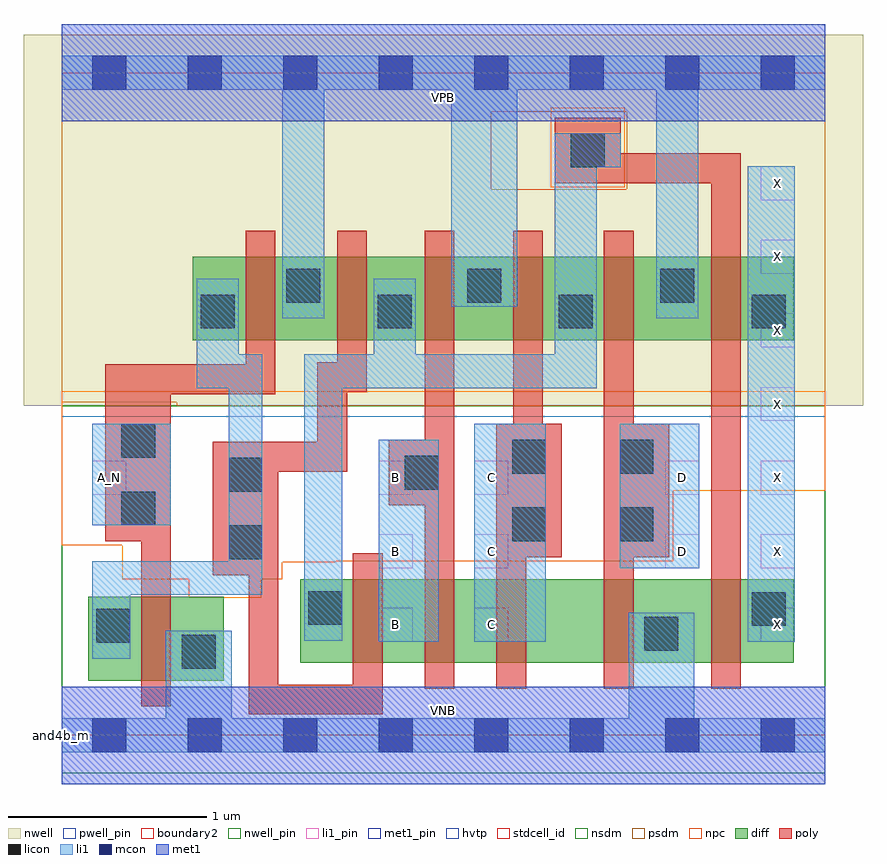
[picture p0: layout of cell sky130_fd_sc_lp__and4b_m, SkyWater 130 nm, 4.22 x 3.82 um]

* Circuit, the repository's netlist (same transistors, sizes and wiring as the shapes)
* Copyright 2020 The SkyWater PDK Authors
*
* Licensed under the Apache License, Version 2.0 (the "License");
* you may not use this file except in compliance with the License.
* You may obtain a copy of the License at
*
*     https://www.apache.org/licenses/LICENSE-2.0
*
* Unless required by applicable law or agreed to in writing, software
* distributed under the License is distributed on an "AS IS" BASIS,
* WITHOUT WARRANTIES OR CONDITIONS OF ANY KIND, either express or implied.
* See the License for the specific language governing permissions and
* limitations under the License.
*
* SPDX-License-Identifier: Apache-2.0

.SUBCKT sky130_fd_sc_lp__and4b_m A_N B C D VGND VNB VPB VPWR X
*.PININFO A_N:I B:I C:I D:I VGND:I VNB:I VPB:I VPWR:I X:O
MMP0 y A VPWR VPB sky130_fd_pr__pfet_01v8_hvt m=1 w=0.42U l=0.15U mult=1 sa=0.265
+ sb=0.265 sd=0.28 area=0.063 perim=1.14
MMP1 y B VPWR VPB sky130_fd_pr__pfet_01v8_hvt m=1 w=0.42U l=0.15U mult=1 sa=0.265
+ sb=0.265 sd=0.28 area=0.063 perim=1.14
MMP2 y C VPWR VPB sky130_fd_pr__pfet_01v8_hvt m=1 w=0.42U l=0.15U mult=1 sa=0.265
+ sb=0.265 sd=0.28 area=0.063 perim=1.14
MMP3 y D VPWR VPB sky130_fd_pr__pfet_01v8_hvt m=1 w=0.42U l=0.15U mult=1 sa=0.265
+ sb=0.265 sd=0.28 area=0.063 perim=1.14
MMIP0 A A_N VPWR VPB sky130_fd_pr__pfet_01v8_hvt m=1 w=0.42U l=0.15U mult=1 sa=0.265
+ sb=0.265 sd=0.28 area=0.063 perim=1.14
MMIP1 X y VPWR VPB sky130_fd_pr__pfet_01v8_hvt m=1 w=0.42U l=0.15U mult=1 sa=0.265
+ sb=0.265 sd=0.28 area=0.063 perim=1.14
MMN0 y A sndA VNB sky130_fd_pr__nfet_01v8 m=1 w=0.42U l=0.15U mult=1 sa=0.265 sb=0.265
+ sd=0.28 area=0.063 perim=1.14
MMN1 sndA B sndB VNB sky130_fd_pr__nfet_01v8 m=1 w=0.42U l=0.15U mult=1 sa=0.265
+ sb=0.265 sd=0.28 area=0.063 perim=1.14
MMN2 sndB C sndC VNB sky130_fd_pr__nfet_01v8 m=1 w=0.42U l=0.15U mult=1 sa=0.265
+ sb=0.265 sd=0.28 area=0.063 perim=1.14
MMN3 sndC D VGND VNB sky130_fd_pr__nfet_01v8 m=1 w=0.42U l=0.15U mult=1 sa=0.265
+ sb=0.265 sd=0.28 area=0.063 perim=1.14
MMIN0 A A_N VGND VNB sky130_fd_pr__nfet_01v8 m=1 w=0.42U l=0.15U mult=1 sa=0.265
+ sb=0.265 sd=0.28 area=0.063 perim=1.14
MMIN1 X y VGND VNB sky130_fd_pr__nfet_01v8 m=1 w=0.42U l=0.15U mult=1 sa=0.265
+ sb=0.265 sd=0.28 area=0.063 perim=1.14
.ENDS sky130_fd_sc_lp__and4b_m

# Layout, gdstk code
import gdstk
lib = gdstk.Library(unit=1e-6, precision=1e-09)
def R(c, l, rs):  # rectangles x0, y0, x1, y1
    for r in rs: c.add(gdstk.rectangle(r[:2], r[2:], *l))
def A(c, l, x, y, w, h, nx, ny, dx, dy):  # array of equal rectangles
    R(c, l, [(x+i*dx, y+j*dy, x+i*dx+w, y+j*dy+h) for i in range(nx) for j in range(ny)])
def P(c, l, *ps):  # polygons
    for p in ps: c.add(gdstk.Polygon(p, *l))
nwell_pin = (64, 16)
nwell = (64, 20)
diff = (65, 20)
poly = (66, 20)
licon = (66, 44)
li1_pin = (67, 16)
li1 = (67, 20)
mcon = (67, 44)
met1_pin = (68, 16)
met1 = (68, 20)
hvtp = (78, 44)
stdcell_id = (81, 4)
nsdm = (93, 44)
psdm = (94, 20)
npc = (95, 20)
pwell_pin = (122, 16)
boundary2 = (236, 0)

sky130_fd_sc_lp__and4b_m = lib.new_cell('sky130_fd_sc_lp__and4b_m')
R(sky130_fd_sc_lp__and4b_m, nwell_pin, [(0,3.085,3.84,3.33)])
R(sky130_fd_sc_lp__and4b_m, nwell, [(-0.19,1.655,4.03,3.52)])
R(sky130_fd_sc_lp__and4b_m, diff, [(0.135,0.275,0.815,0.695), (1.2,0.365,3.68,0.785), (0.66,1.985,3.68,2.405)])
P(sky130_fd_sc_lp__and4b_m, poly, [(1.075,2.535),(0.925,2.535),(0.925,1.865),(0.22,1.865),(0.22,0.975),(0.4,0.975),(0.4,0.145),(0.55,0.145),(0.55,1.715),(1.075,1.715)],
  [(1.615,0.915),(1.465,0.915),(1.465,0.255),(1.09,0.255),(1.09,1.325),(1.435,1.325),(1.435,1.725),(1.535,1.725),(1.535,2.535),(1.385,2.535),(1.385,1.875),(1.285,1.875),(1.285,1.475),(0.76,1.475),(0.76,0.805),(0.94,0.805),(0.94,0.105),(1.615,0.105)],
  [(1.975,2.535),(1.825,2.535),(1.825,1.485),(1.645,1.485),(1.645,1.155),(1.825,1.155),(1.825,0.235),(1.975,0.235)],
  [(2.515,1.565),(2.42,1.565),(2.42,2.535),(2.27,2.535),(2.27,1.565),(2.185,1.565),(2.185,0.235),(2.335,0.235),(2.335,0.895),(2.515,0.895)],
  [(3.055,1.565),(2.875,1.565),(2.875,2.535),(2.725,2.535),(2.725,0.235),(2.875,0.235),(2.875,0.895),(3.055,0.895)],
  [(3.415,2.925),(2.81,2.925),(2.81,3.105),(2.48,3.105),(2.48,2.775),(3.265,2.775),(3.265,0.235),(3.415,0.235)])
R(sky130_fd_sc_lp__and4b_m, licon, [(0.605,0.335,0.775,0.505), (2.93,0.425,3.1,0.595), (0.175,0.465,0.345,0.635), (3.47,0.55,3.64,0.72), (1.24,0.555,1.41,0.725), (0.84,0.885,1.01,1.055), (2.265,0.975,2.435,1.145), (2.805,0.975,2.975,1.145), (0.3,1.055,0.47,1.225), (0.84,1.225,1.01,1.395), (1.725,1.235,1.895,1.405), (2.265,1.315,2.435,1.485), (2.805,1.315,2.975,1.485), (0.3,1.395,0.47,1.565), (0.7,2.045,0.87,2.215), (1.59,2.045,1.76,2.215), (2.5,2.045,2.67,2.215), (3.47,2.045,3.64,2.215), (1.13,2.175,1.3,2.345), (2.04,2.175,2.21,2.345), (3.01,2.175,3.18,2.345), (2.56,2.855,2.73,3.025)])
A(sky130_fd_sc_lp__and4b_m, li1_pin, 1.595, 0.47, 0.17, 0.17, 1, 3, 0, 0.37)
A(sky130_fd_sc_lp__and4b_m, li1_pin, 2.075, 0.47, 0.17, 0.17, 1, 3, 0, 0.37)
A(sky130_fd_sc_lp__and4b_m, li1_pin, 3.515, 0.47, 0.17, 0.17, 1, 7, 0, 0.37)
R(sky130_fd_sc_lp__and4b_m, li1_pin, [(3.035,0.84,3.205,1.01), (0.155,1.21,0.325,1.38), (3.035,1.21,3.205,1.38)])
R(sky130_fd_sc_lp__and4b_m, li1, [(1.595,0.47,1.895,1.485), (2.075,0.47,2.435,1.565), (3.45,0.47,3.685,2.86), (2.805,0.84,3.205,1.565), (0.155,1.055,0.55,1.565)])
P(sky130_fd_sc_lp__and4b_m, li1, [(1.11,2.095),(1.11,3.245),(0,3.245),(0,3.415),(3.84,3.415),(3.84,3.245),(3.2,3.245),(3.2,2.095),(2.99,2.095),(2.99,3.245),(2.29,3.245),(2.29,2.155),(1.96,2.155),(1.96,3.245),(1.32,3.245),(1.32,2.095)],
  [(2.85,0.085),(2.85,0.615),(3.18,0.615),(3.18,0.085),(3.84,0.085),(3.84,-0.085),(0,-0.085),(0,0.085),(0.525,0.085),(0.525,0.525),(0.855,0.525),(0.855,0.085)],
  [(0.89,1.915),(1.01,1.915),(1.01,0.705),(0.345,0.705),(0.345,0.385),(0.155,0.385),(0.155,0.875),(0.84,0.875),(0.84,1.745),(0.68,1.745),(0.68,2.295),(0.89,2.295)],
  [(1.22,1.915),(1.57,1.915),(1.57,2.295),(1.78,2.295),(1.78,1.915),(2.48,1.915),(2.48,3.025),(2.81,3.025),(2.81,2.855),(2.69,2.855),(2.69,1.745),(1.41,1.745),(1.41,0.475),(1.22,0.475)])
A(sky130_fd_sc_lp__and4b_m, mcon, 0.155, -0.085, 0.17, 0.17, 8, 2, 0.48, 3.33)
R(sky130_fd_sc_lp__and4b_m, met1_pin, [(0,0,3.84,0.245), (0,3.085,3.84,3.33)])
R(sky130_fd_sc_lp__and4b_m, met1, [(0,-0.245,3.84,0.245), (0,3.085,3.84,3.575)])
R(sky130_fd_sc_lp__and4b_m, hvtp, [(0,1.6,3.84,3.33)])
R(sky130_fd_sc_lp__and4b_m, stdcell_id, [(0,0,3.84,3.33)])
R(sky130_fd_sc_lp__and4b_m, nsdm, [(0,-0.19,3.84,1.655)])
P(sky130_fd_sc_lp__and4b_m, psdm, [(3.84,3.52),(2.84,3.52),(2.84,2.745),(2.16,2.745),(2.16,3.135),(2.84,3.135),(2.84,3.52),(0,3.52),(0,1.675),(0.58,1.675),(0.58,1.655),(3.84,1.655)])
R(sky130_fd_sc_lp__and4b_m, npc, [(2.46,2.755,2.83,3.155)])
P(sky130_fd_sc_lp__and4b_m, npc, [(3.84,1.73),(0,1.73),(0,0.955),(0.305,0.955),(0.305,0.785),(0.64,0.785),(0.64,0.69),(1.005,0.69),(1.005,0.785),(1.11,0.785),(1.11,0.87),(1.375,0.87),(1.375,0.875),(3.075,0.875),(3.075,1.23),(3.84,1.23)])
R(sky130_fd_sc_lp__and4b_m, pwell_pin, [(0,0,3.84,0.245)])
R(sky130_fd_sc_lp__and4b_m, boundary2, [(0,0,3.84,3.33)])
sky130_fd_sc_lp__and4b_m.add(gdstk.Label('VNB', (1.92,0.123), layer=64, texttype=59))
sky130_fd_sc_lp__and4b_m.add(gdstk.Label('VPB', (1.92,3.208), layer=64, texttype=5))
sky130_fd_sc_lp__and4b_m.add(gdstk.Label('and4b_m', (0,0), layer=83, texttype=44))
sky130_fd_sc_lp__and4b_m.add(gdstk.Label('VPWR', (1.92,3.208), layer=68, texttype=5))
sky130_fd_sc_lp__and4b_m.add(gdstk.Label('VGND', (1.92,0.123), layer=68, texttype=5))
sky130_fd_sc_lp__and4b_m.add(gdstk.Label('B', (1.68,0.555), layer=67, texttype=5))
sky130_fd_sc_lp__and4b_m.add(gdstk.Label('B', (1.68,0.925), layer=67, texttype=5))
sky130_fd_sc_lp__and4b_m.add(gdstk.Label('B', (1.68,1.295), layer=67, texttype=5))
sky130_fd_sc_lp__and4b_m.add(gdstk.Label('C', (2.16,0.555), layer=67, texttype=5))
sky130_fd_sc_lp__and4b_m.add(gdstk.Label('C', (2.16,0.925), layer=67, texttype=5))
sky130_fd_sc_lp__and4b_m.add(gdstk.Label('C', (2.16,1.295), layer=67, texttype=5))
sky130_fd_sc_lp__and4b_m.add(gdstk.Label('D', (3.12,0.925), layer=67, texttype=5))
sky130_fd_sc_lp__and4b_m.add(gdstk.Label('D', (3.12,1.295), layer=67, texttype=5))
sky130_fd_sc_lp__and4b_m.add(gdstk.Label('A_N', (0.24,1.295), layer=67, texttype=5))
sky130_fd_sc_lp__and4b_m.add(gdstk.Label('X', (3.6,0.555), layer=67, texttype=5))
sky130_fd_sc_lp__and4b_m.add(gdstk.Label('X', (3.6,0.925), layer=67, texttype=5))
sky130_fd_sc_lp__and4b_m.add(gdstk.Label('X', (3.6,1.295), layer=67, texttype=5))
sky130_fd_sc_lp__and4b_m.add(gdstk.Label('X', (3.6,1.665), layer=67, texttype=5))
sky130_fd_sc_lp__and4b_m.add(gdstk.Label('X', (3.6,2.035), layer=67, texttype=5))
sky130_fd_sc_lp__and4b_m.add(gdstk.Label('X', (3.6,2.405), layer=67, texttype=5))
sky130_fd_sc_lp__and4b_m.add(gdstk.Label('X', (3.6,2.775), layer=67, texttype=5))

lib.write_gds('sky130_fd_sc_lp__and4b_m.gds')
